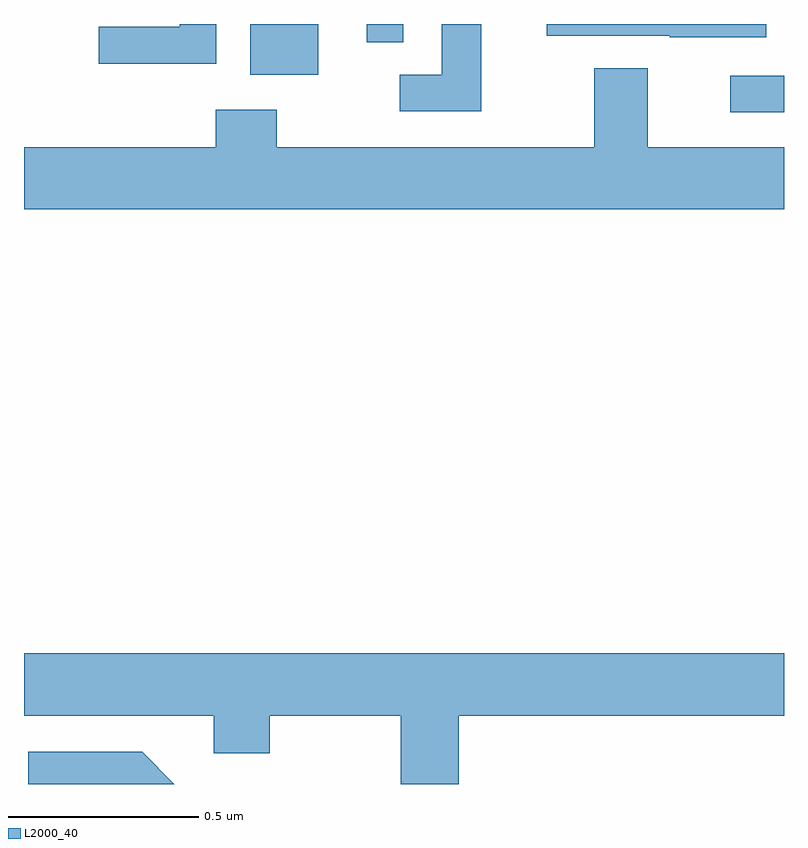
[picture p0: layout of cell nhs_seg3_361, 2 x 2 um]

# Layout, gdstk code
import gdstk
lib = gdstk.Library(unit=1e-6, precision=1e-09)
def R(c, l, rs):  # rectangles x0, y0, x1, y1
    for r in rs: c.add(gdstk.rectangle(r[:2], r[2:], *l))
def P(c, l, *ps):  # polygons
    for p in ps: c.add(gdstk.Polygon(p, *l))
L2000_40 = (2000, 40)

nhs_seg3_361 = lib.new_cell('nhs_seg3_361')
R(nhs_seg3_361, L2000_40, [(116.859,705.168,117,705.264), (115.595,705.266,115.774,705.4), (115.902,705.352,115.998,705.4)])
P(nhs_seg3_361, L2000_40, [(115.506,705.4),(115.41,705.4),(115.41,705.393),(115.197,705.393),(115.197,705.295),(115.506,705.295)],
  [(116.203,705.4),(116.099,705.4),(116.099,705.267),(115.989,705.267),(115.989,705.171),(116.203,705.171)],
  [(116.953,705.4),(116.375,705.4),(116.375,705.369),(116.699,705.369),(116.699,705.365),(116.953,705.365)],
  [(117,705.076),(116.641,705.076),(116.641,705.284),(116.501,705.284),(116.501,705.076),(115.665,705.076),(115.665,705.175),(115.505,705.175),(115.505,705.076),(115,705.076),(115,704.912),(117,704.912)],
  [(116.144,703.58),(117,703.58),(117,703.744),(115,703.744),(115,703.58),(115.499,703.58),(115.499,703.481),(115.647,703.481),(115.647,703.58),(115.991,703.58),(115.991,703.4),(116.144,703.4)],
  [(115.311,703.485),(115.011,703.485),(115.011,703.4),(115.396,703.4)])

lib.write_gds('nhs_seg3_361.gds')
